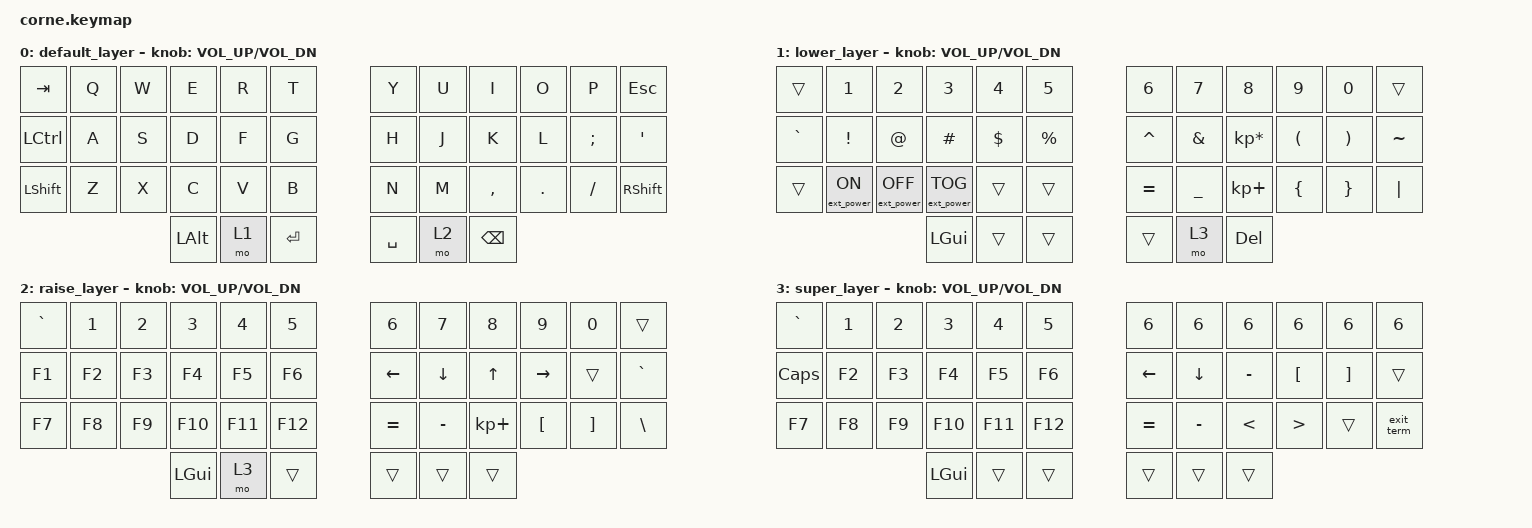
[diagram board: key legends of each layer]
/*
 * Copyright (c) 2020 The ZMK Contributors
 *
 * SPDX-License-Identifier: MIT
 */

#include <behaviors.dtsi>
#include <dt-bindings/zmk/bt.h>
#include <dt-bindings/zmk/ext_power.h>
#include <dt-bindings/zmk/keys.h>

/ {
    macros {
        exit_term: exit_term {
            compatible = "zmk,behavior-macro";
            #binding-cells = <0>;
            bindings =
                <&macro_press>,
                <&kp LCTRL>,
                <&macro_tap>,
                <&kp BSLH &kp N>,
                <&macro_release>,
                <&kp LCTRL>;

            label = "EXIT_TERM";
        };
    };

    keymap {
        compatible = "zmk,keymap";

        default_layer {
            // ---------------------------------------------------------------------------------------------------------------
            // |  TAB  |  Q  |  W  |  E   |  R   |  T   |                      |  Y   |  U    |  I    |  O   |   P   |  ESC  |
            // |  CTRL |  A  |  S  |  D   |  F   |  G   |                      |  H   |  J    |  K    |  L   |   ;   |   '   |
            // | SHIFT |  Z  |  X  |  C   |  V   |  B   |                      |  N   |  M    |  ,    |  .   |   /   | SHIFT |
            //                         | ALT  | LOWER|  ENTER |             | SPACE | RAISE| BSPC  |

            bindings = <
&kp TAB    &kp Q   &kp W   &kp E     &kp R     &kp T                          &kp Y   &kp U     &kp I      &kp O    &kp P     &kp ESC
&kp LCTRL  &kp A   &kp S   &kp D     &kp F     &kp G                          &kp H   &kp J     &kp K      &kp L    &kp SEMI  &kp SQT
&kp LSHFT  &kp Z   &kp X   &kp C     &kp V     &kp B                          &kp N   &kp M     &kp COMMA  &kp DOT  &kp FSLH  &kp RSHFT
                                        &kp LALT  &mo 1   &kp RET      &kp SPACE &mo 2   &kp BSPC
            >;

            sensor-bindings = <&inc_dec_kp C_VOL_UP C_VOL_DN>;
        };

        lower_layer {
            // -------------------------------------------------------------------------------------------------------------------
            // |     |    1   |    2    |    3    |  4  |  5  |                            |  6  |  7  |  8  |  9  |  0  |       |
            // |  `  |    !   |    @    |    #    |  $  |  %  |                            |  ^  |  &  |  *  |  (  |  )  |   ~   |
            // |     | ext on | ext off | ext tog |     |     |                            |  =  |  _  |  +  |  {  |  }  |  "|"  |
            //                               |   WIN |     |     |                     |     | SUPER |     |      

            bindings = <
&trans     &kp N1            &kp N2             &kp N3             &kp N4      &kp N5             &kp N6     &kp N7     &kp N8           &kp N9    &kp N0    &trans
&kp GRAVE  &kp EXCL          &kp AT             &kp HASH           &kp DOLLAR  &kp PRCNT          &kp CARET  &kp AMPS   &kp KP_MULTIPLY  &kp LPAR  &kp RPAR  &kp TILDE
&trans     &ext_power EP_ON  &ext_power EP_OFF  &ext_power EP_TOG  &trans      &trans             &kp EQUAL  &kp UNDER  &kp KP_PLUS      &kp LBRC  &kp RBRC  &kp PIPE
                                                        &kp LGUI        &trans   &trans     &trans    &mo 3      &kp DEL
            >;

            sensor-bindings = <&inc_dec_kp C_VOL_UP C_VOL_DN>;
        };

        raise_layer {
            // --------------------------------------------------------------------------------------------------------
            // |   `   |  1  |  2  |  3   |  4   |  5   |               |  6   |   7   |   8   |  9    |   0   |      |
            // |   F1  |  F2 |  F3 |  F4  |  F5  |  F6  |               |  <-  |   v   |   ^   |  ->   |       |  `   |
            // |   F7  |  F8 |  F9 |  F10 |  F11 |  F12 |               |  =   |   -   |   +   |  [    |   ]   |   \  |
            //                        |  WIN  | SUPER |    |         |     |      |       |        

            bindings = <
&kp GRAVE  &kp N1  &kp N2  &kp N3   &kp N4    &kp N5                     &kp N6     &kp N7     &kp N8       &kp N9     &kp N0    &trans
&kp F1     &kp F2  &kp F3  &kp F4   &kp F5    &kp F6                     &kp LEFT   &kp DOWN   &kp UP       &kp RIGHT  &trans    &kp GRAVE
&kp F7     &kp F8  &kp F9  &kp F10  &kp F11   &kp F12                    &kp EQUAL  &kp MINUS  &kp KP_PLUS  &kp LBKT   &kp RBKT  &kp BSLH
                              &kp LGUI    &mo 3    &trans             &trans    &trans     &trans
            >;

            sensor-bindings = <&inc_dec_kp C_VOL_UP C_VOL_DN>;
        };

        super_layer {
            // ------------------------------------------------------------------------------------------------------------
            // |   `   |  1  |  2  |  3   |  4   |  5   |                   |  6   | bright up | bright down | hue up | hue down | toggle|
            // |  CAPS |  F2 |  F3 |  F4  |  F5  |  F6  |                   |  <-  |   v   |  -    |  [   |   ]   |       |
            // |   F7  |  F8 |  F9 |  F10 |  F11 |  F12 |                   |  =   |   -   |   <   |   >  |       |   \   | 
            //                        |  WIN |      |      |             |      |       |       |

            bindings = <
&kp GRAVE   &kp N1        &kp N2        &kp N3        &kp N4        &kp N5                  &kp N6 &kp N6 &kp N6 &kp N6 &kp N6 &kp N6  // &rgb_ug_brt_inc  &rgb_ug_brt_dec &rgb_ug_hue_inc &rgb_ug_hue_dec    &rgb_ug_toggle
&kp CAPS    &kp F2        &kp F3        &kp F4        &kp F5        &kp F6                              &kp LEFT   &kp DOWN   &kp MINUS  &kp LBKT  &kp RBKT  &trans
&kp F7      &kp F8        &kp F9        &kp F10       &kp F11       &kp F12                             &kp EQUAL  &kp MINUS  &kp LT     &kp GT    &trans    &exit_term
                                              &kp LGUI      &trans        &trans      &trans    &trans     &trans
            >;

            sensor-bindings = <&inc_dec_kp C_VOL_UP C_VOL_DN>;
        };
    };
};
